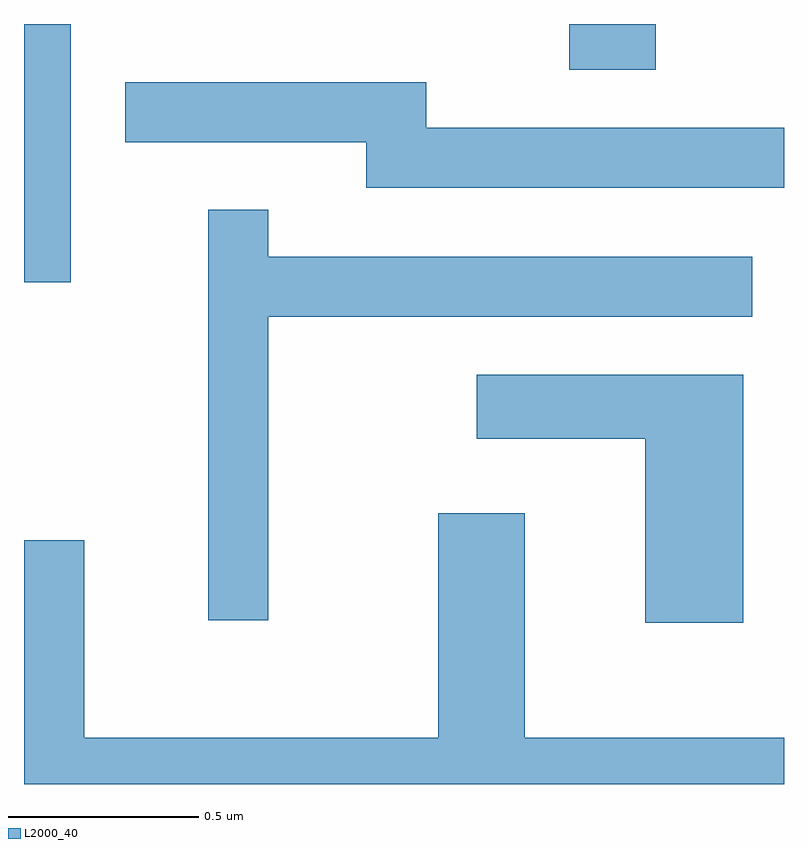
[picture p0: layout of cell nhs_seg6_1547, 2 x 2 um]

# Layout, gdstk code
import gdstk
lib = gdstk.Library(unit=1e-6, precision=1e-09)
def R(c, l, rs):  # rectangles x0, y0, x1, y1
    for r in rs: c.add(gdstk.rectangle(r[:2], r[2:], *l))
def P(c, l, *ps):  # polygons
    for p in ps: c.add(gdstk.Polygon(p, *l))
L2000_40 = (2000, 40)

nhs_seg6_1547 = lib.new_cell('nhs_seg6_1547')
R(nhs_seg6_1547, L2000_40, [(196.611,1571.483,196.734,1572.162), (198.046,1572.041,198.274,1572.162)])
P(nhs_seg6_1547, L2000_40, [(198.611,1571.889),(197.669,1571.889),(197.669,1572.009),(196.878,1572.009),(196.878,1571.851),(197.511,1571.851),(197.511,1571.731),(198.611,1571.731)],
  [(197.254,1571.391),(198.528,1571.391),(198.528,1571.549),(197.254,1571.549),(197.254,1571.673),(197.096,1571.673),(197.096,1570.593),(197.254,1570.593)],
  [(198.504,1571.239),(197.803,1571.239),(197.803,1571.071),(198.246,1571.071),(198.246,1570.586),(198.504,1570.586)],
  [(198.611,1570.284),(197.929,1570.284),(197.929,1570.874),(197.701,1570.874),(197.701,1570.284),(196.769,1570.284),(196.769,1570.804),(196.611,1570.804),(196.611,1570.162),(198.611,1570.162)])

lib.write_gds('nhs_seg6_1547.gds')
